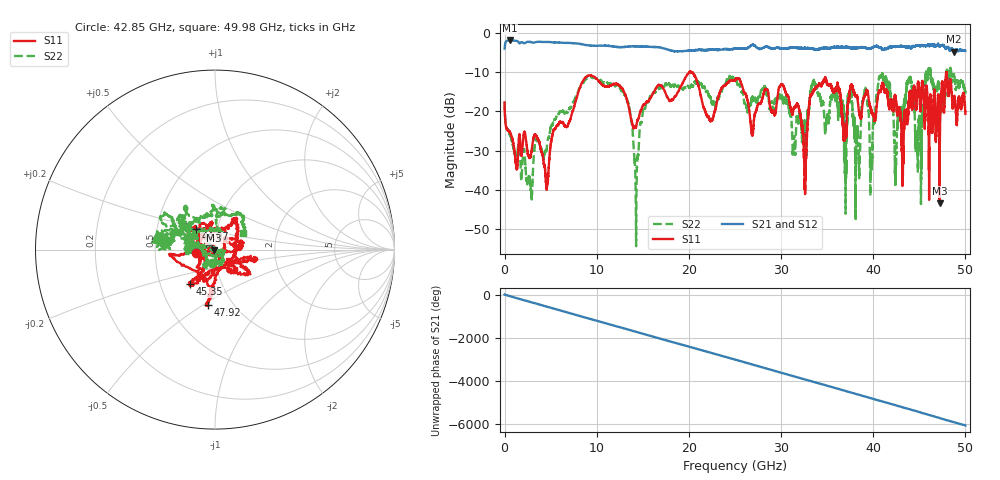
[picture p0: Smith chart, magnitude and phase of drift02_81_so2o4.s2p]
!Created with skrf (http://scikit-rf.org).
# Hz S RI R 50.0
!freq ReS11 ImS11 ReS21 ImS21 ReS12 ImS12 ReS22 ImS22
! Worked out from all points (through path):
!   10001 points, 300 kHz to 50 GHz, reference 50 ohm
!   highest |S21| = -1.99 dB at 555.3 MHz (marker M1); lowest = -4.8 dB at 48.77 GHz (marker M2)
!   group delay of S21, straight-line fit = 337 ps
!   lowest |S11| = -43.4 dB at 47.2 GHz (marker M3), VSWR 1.01, Z = 49.5 - j0.396 ohm
!   |S11| at or under -10 dB: start of sweep to 20.06 GHz; 20.20675 GHz to 20.22024 GHz (13.49 MHz wide, 0.0668 % of centre); 20.24 GHz to end of sweep (the widest 3 of 7)
!   |S22| runs from -54.3 to -8.9 dB; largest |S21 - S12| = 0.033
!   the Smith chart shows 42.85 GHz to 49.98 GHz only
!   S11 on the Smith chart (normalised r, x): 42.85 GHz: 0.81, -0.03; 44.07 GHz: 0.79, +0.18; 45.35 GHz: 0.71, -0.29; 47.92 GHz: 0.77, -0.52; 49.98 GHz: 1.15, -0.15
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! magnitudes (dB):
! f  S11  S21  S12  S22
! 300 kHz  -17.7  -4.0  -4.0  -17.6
! 555.3 MHz  -25.2  -2.0  -2.0  -25.9
! 4.575 GHz  -39.5  -2.4  -2.4  -29.1
! 8.335 GHz  -13.0  -2.9  -2.9  -13.2
! 13 GHz  -15.3  -3.6  -3.7  -15.7
! 14.28 GHz  -23.8  -3.5  -3.5  -48.2
! 16.67 GHz  -13.3  -3.7  -3.7  -14.5
! 25 GHz  -12.1  -4.1  -4.1  -12.2
! 30.19 GHz  -13.4  -4.1  -4.1  -16.8
! 32.57 GHz  -38.2  -3.9  -3.9  -25.5
! 33.34 GHz  -15.8  -4.0  -4.1  -13.4
! 37.49 GHz  -14.6  -3.9  -3.9  -16.2
! 38.29 GHz  -16.7  -3.9  -3.9  -24.0
! 41.67 GHz  -18.3  -3.8  -3.9  -12.4
! 42.85 GHz  -19.4  -3.5  -3.5  -22.4
! 44.07 GHz  -16.1  -4.0  -4.0  -11.6
! 45.35 GHz  -12.4  -3.3  -3.2  -19.8
! 47.2 GHz  -43.4  -3.5  -3.4  -16.5
! 47.92 GHz  -10.1  -4.0  -4.0  -11.3
! 48.77 GHz  -16.8  -4.8  -4.8  -10.7
! 49.98 GHz  -20.0  -4.6  -4.5  -14.9
! 50 GHz  -20.6  -4.6  -4.6  -15.6
